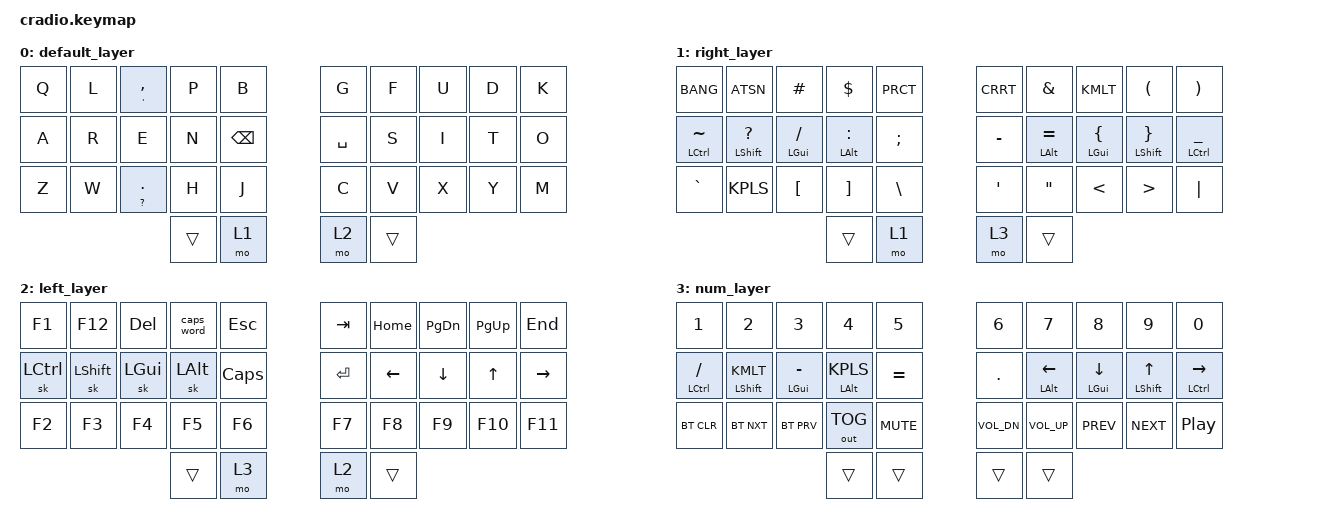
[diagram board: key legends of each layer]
/*
 * Copyright (c) 2020 The ZMK Contributors
 *
 * SPDX-License-Identifier: MIT
 */

#include <behaviors.dtsi>
#include <dt-bindings/zmk/keys.h>
#include <dt-bindings/zmk/bt.h>
#include <dt-bindings/zmk/outputs.h>



&mt {
   flavor = "tap-preferred";
   // tapping_term_ms = <200>;
};

/ { 

    combos {
        compatible = "zmk,combos";        
    };

        keymap {
                compatible = "zmk,keymap";
                
       		default_layer {
		bindings = <
		&kp Q    &kp L    &mt SQT CMMA    &kp P    &kp B 					    &kp G    &kp F    &kp U    &kp D    &kp K 
		&kp A    &kp R    &kp E       &kp N    &kp BSPC 			            &kp SPC    &kp S    &kp I    &kp T    &kp O
		&kp Z    &kp W    &mt QMARK DOT     &kp H    &kp J				        &kp C    &kp V    &kp X    &kp Y    &kp M
          				              &trans   &mo 1  				        &mo 2     &trans 
		>;
		};

        
		
		right_layer {
		bindings = <
        &kp BANG  &kp ATSN &kp HASH  &kp DLLR  &kp PRCT    			&kp CRRT  &kp AMPS &kp KMLT &kp LPRN &kp RPRN 
		&mt LCTL TILDE   &mt LSHIFT QMARK  &mt LGUI FSLH   &mt LALT COLN  &kp SCLN 			&kp MINUS  &mt LALT EQUAL  &mt LGUI LBRC   &mt LSHIFT RBRC   &mt LCTL UNDER
		&kp GRAVE  &kp KPLS &kp LBKT &kp RBKT   &kp BSLH    			&kp SQT &kp DQT &kp LT  &kp GT &kp PIPE
					  &trans  &mo 1                                  	&mo 3  &trans 
		>; 
		};

       		left_layer {
		bindings = <
        &kp F1      &kp F12        &kp DEL      &caps_word      &kp ESC		        &kp  TAB    &kp HOME       &kp PG_DN        &kp PG_UP   &kp END 
		&sk LCTL    &sk LSHIFT    &sk LGUI     &sk LALT    &kp  CAPS		        &kp RETURN    &kp LEFT      &kp DOWN    &kp UP    &kp RIGHT 
		&kp F2      &kp F3      &kp F4      &kp F5    &kp F6 	            &kp F7     &kp F8    &kp F9     &kp F10     &kp F11 
					                          &trans      &mo 3  		        &mo 2      &trans 
		>;
		};		
        num_layer {
		bindings = <
		&kp NUM_1  &kp NUM_2    &kp NUM_3    &kp NUM_4    &kp NUM_5 			&kp NUM_6 &kp NUM_7   &kp NUM_8   &kp NUM_9  &kp NUM_0
		&mt LCTL FSLH   &mt LSHIFT KMLT &mt LGUI MINUS  &mt LALT KPLS &kp EQUAL  						&kp DOT  &mt LALT LEFT  &mt LGUI DOWN  &mt LSHIFT UP &mt LCTL RIGHT 
		&bt BT_CLR  &bt BT_NXT &bt BT_PRV &out OUT_TOG &kp C_MUTE  				&kp C_VOL_DN  &kp C_VOL_UP    &kp C_PREV    &kp C_NEXT    &kp C_PP   
					 &trans &trans					&trans &trans 
		>;
		};
	};
};
